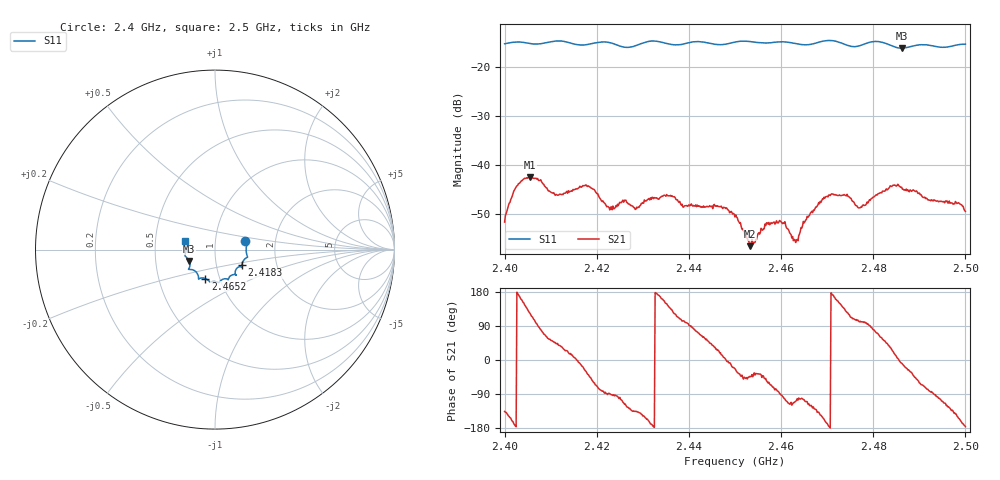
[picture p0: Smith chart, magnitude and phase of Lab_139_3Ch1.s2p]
# Hz S RI R 50
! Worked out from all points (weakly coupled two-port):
!   601 points, 2.4 GHz to 2.5 GHz, reference 50 ohm
!   highest |S21| = -42.56 dB at 2.4055 GHz (marker M1); lowest = -56.6 dB at 2.4532 GHz (marker M2)
!   lowest |S11| = -16.1 dB at 2.4862 GHz (marker M3), VSWR 1.37, Z = 37.2 - j4.88 ohm
!   |S11| at or under -10 dB: start of sweep to end of sweep
!   S12 and S22 are empty: the file has one direction only
!   S11 on the Smith chart (normalised r, x): 2.4 GHz: 1.40, +0.13; 2.4183 GHz: 1.33, -0.24; 2.4652 GHz: 0.85, -0.28; 2.5 GHz: 0.71, +0.07
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2.4e9  0.1679 0.0469  -0.00186 -0.00182  0 0  0 0
2.4025e9  0.1784 0.0349  -0.00595 -0.000393  0 0  0 0
2.4055e9  0.1747 0.0143  -0.00409 0.00622  0 0  0 0
2.411333e9  0.1818 -0.0397  0.00363 0.00337  0 0  0 0
2.416667e9  0.1548 -0.0679  0.00574 -0.00146  0 0  0 0
2.418333e9  0.1497 -0.0863  0.0045 -0.00401  0 0  0 0
2.422833e9  0.1501 -0.0981  3.73e-05 -0.00346  0 0  0 0
2.433333e9  0.1172 -0.1417  -0.00442 0.000664  0 0  0 0
2.446667e9  0.0479 -0.1639  0.00355 0.00121  0 0  0 0
2.45e9  0.0256 -0.1797  0.0027 -0.00115  0 0  0 0
2.453167e9  0.0178 -0.1831  0.00107 -0.00101  0 0  0 0
2.457e9  -0.00889 -0.1776  0.00138 -0.00215  0 0  0 0
2.4595e9  -0.0248 -0.1804  0.000256 -0.00258  0 0  0 0
2.463167e9  -0.0368 -0.1711  -0.000524 -0.00152  0 0  0 0
2.465167e9  -0.0542 -0.1613  -0.000832 -0.00249  0 0  0 0
2.466667e9  -0.0707 -0.1578  -0.00181 -0.00282  0 0  0 0
2.470833e9  -0.0915 -0.1643  -0.005 0.000223  0 0  0 0
2.474167e9  -0.0956 -0.1399  -0.00294 0.00383  0 0  0 0
2.477e9  -0.121 -0.1137  -0.000673 0.00358  0 0  0 0
2.483333e9  -0.1414 -0.0968  0.00456 0.00355  0 0  0 0
2.486167e9  -0.1434 -0.0639  0.00586 -0.000852  0 0  0 0
2.5e9  -0.166 0.0476  -0.00334 -0.000236  0 0  0 0
